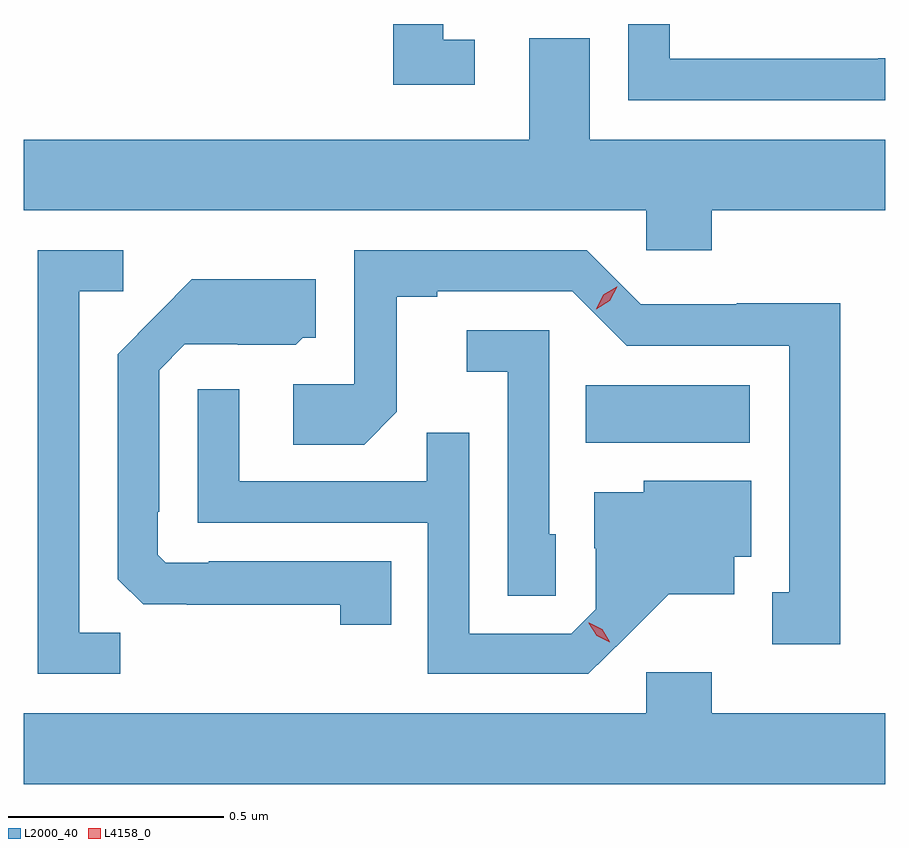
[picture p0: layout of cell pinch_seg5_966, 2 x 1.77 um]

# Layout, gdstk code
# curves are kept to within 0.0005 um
import gdstk
lib = gdstk.Library(unit=1e-6, precision=1e-09)
def R(c, l, rs):  # rectangles x0, y0, x1, y1
    for r in rs: c.add(gdstk.rectangle(r[:2], r[2:], *l))
def P(c, l, *ps):  # polygons
    for p in ps: c.add(gdstk.Polygon(p, *l))
L2000_40 = (2000, 40)
L4158_0 = (4158, 0)

pinch_seg5_966 = lib.new_cell('pinch_seg5_966')
R(pinch_seg5_966, L2000_40, [(689.704,888.188,690.085,888.322)])
P(pinch_seg5_966, L2000_40, [(689.446,889.125),(689.373,889.125),(689.373,889.161),(689.257,889.161),(689.257,889.02),(689.446,889.02)],
  [(690.399,889.081),(690.383,889.081),(690.383,889.08),(689.899,889.08),(689.899,889.161),(689.802,889.161),(689.802,888.984),(690.399,888.984)],
  [(689.996,888.728),(690.399,888.728),(690.399,888.892),(689.713,888.892),(689.713,889.128),(689.573,889.128),(689.573,888.892),(688.399,888.892),(688.399,888.728),(689.844,888.728),(689.844,888.635),(689.996,888.635)],
  [(688.623,887.747),(688.527,887.747),(688.527,888.54),(688.63,888.54),(688.63,888.636),(688.431,888.636),(688.431,887.652),(688.623,887.652)],
  [(690.295,888.512),(690.054,888.512),(690.054,888.51),(689.832,888.51),(689.706,888.636),(689.166,888.636),(689.166,888.324),(689.025,888.324),(689.025,888.184),(689.189,888.184),(689.265,888.26),(689.265,888.528),(689.359,888.528),(689.359,888.54),(689.673,888.54),(689.799,888.414),(690.176,888.414),(690.176,887.841),(690.137,887.841),(690.137,887.721),(690.295,887.721)],
  [(689.252,887.913),(688.828,887.913),(688.828,887.91),(688.728,887.91),(688.71,887.928),(688.71,888.028),(688.713,888.028),(688.713,888.357),(688.773,888.417),(688.896,888.417),(688.896,888.416),(689.03,888.416),(689.046,888.432),(689.077,888.432),(689.077,888.568),(688.789,888.568),(688.617,888.394),(688.617,887.872),(688.676,887.813),(688.777,887.813),(688.777,887.812),(689.134,887.812),(689.134,887.766),(689.252,887.766)],
  [(689.634,887.976),(689.619,887.976),(689.619,888.45),(689.427,888.45),(689.427,888.353),(689.523,888.353),(689.523,887.833),(689.634,887.833)],
  [(689.794,887.735),(689.897,887.837),(690.049,887.837),(690.049,887.924),(690.088,887.924),(690.088,888.1),(689.838,888.1),(689.838,888.073),(689.723,888.073),(689.723,887.944),(689.727,887.944),(689.727,887.802),(689.67,887.745),(689.433,887.745),(689.433,888.212),(689.335,888.212),(689.335,888.099),(688.899,888.099),(688.899,888.313),(688.803,888.313),(688.803,888.003),(689.337,888.003),(689.337,887.652),(689.71,887.652)],
  [(690.399,887.56),(689.996,887.56),(689.996,887.656),(689.844,887.656),(689.844,887.56),(688.399,887.56),(688.399,887.396),(690.399,887.396)])
P(pinch_seg5_966, L4158_0, [(689.759,887.725),(689.729,887.74),(689.711,887.769),(689.711,887.77),(689.712,887.77),(689.742,887.755),(689.76,887.726),(689.76,887.725)],
  [(689.728,888.499),(689.728,888.499),(689.745,888.532),(689.776,888.551),(689.777,888.551),(689.777,888.551),(689.759,888.518),(689.728,888.499)])

lib.write_gds('pinch_seg5_966.gds')
